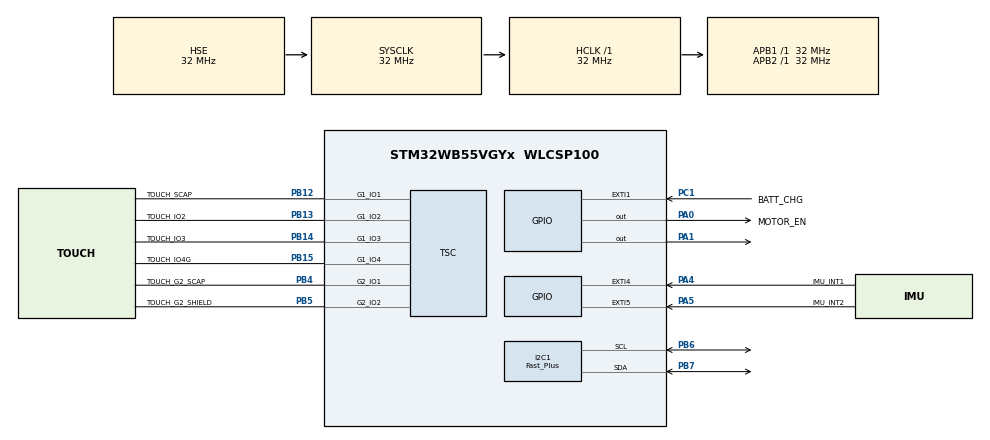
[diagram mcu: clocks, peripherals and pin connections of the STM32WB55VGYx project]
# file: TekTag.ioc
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I2C1.I2C_Speed_Mode=I2C_Fast_Plus
I2C1.Timing=0x00100413
Mcu.Family=STM32WB
Mcu.Name=STM32WB55VGYx
Mcu.Package=WLCSP100
NVIC.HSEM_IRQn=true\:0\:0\:false\:false\:true\:false\:true\:true
NVIC.IPCC_C1_RX_IRQn=true\:0\:0\:false\:false\:true\:true\:true\:true
NVIC.IPCC_C1_TX_IRQn=true\:0\:0\:false\:false\:true\:true\:true\:true
NVIC.PriorityGroup=NVIC_PRIORITYGROUP_4
NVIC.RTC_WKUP_IRQn=true\:0\:0\:false\:false\:true\:true\:true\:true
OSC_IN.Mode=HSE-External-Oscillator
OSC_IN.Signal=RCC_OSC_IN
OSC_OUT.Mode=HSE-External-Oscillator
OSC_OUT.Signal=RCC_OSC_OUT
PA0.GPIO_Label=MOTOR_EN
PA0.Signal=GPIO_Output
PA1.Signal=GPIO_Output
PA13.Mode=Trace_Synchro_4bits_SW
PA13.Signal=SYS_JTMS-SWDIO
PA14.Mode=Trace_Synchro_4bits_SW
PA14.Signal=SYS_JTCK-SWCLK
PA4.GPIO_Label=IMU_INT1
PA4.Signal=GPXTI4
PA5.GPIO_Label=IMU_INT2
PA5.Signal=GPXTI5
PB12.GPIO_Label=TOUCH_SCAP
PB12.Mode=G1_IO1-Sampling
PB12.Signal=TSC_G1_IO1
PB13.GPIO_Label=TOUCH_IO2
PB13.Mode=G1_IO2-Channel
PB13.Signal=TSC_G1_IO2
PB14.GPIO_Label=TOUCH_IO3
PB14.Mode=G1_IO3-Channel
PB14.Signal=TSC_G1_IO3
PB15.GPIO_Label=TOUCH_IO4G
PB15.Mode=G1_IO4-Channel
PB15.Signal=TSC_G1_IO4
PB4.GPIO_Label=TOUCH_G2_SCAP
PB4.Mode=G2_IO1-Sampling
PB4.Signal=TSC_G2_IO1
PB5.GPIO_Label=TOUCH_G2_SHIELD
PB5.Mode=G2_IO2-Shield
PB5.Signal=TSC_G2_IO2
PB6.GPIO_Speed=GPIO_SPEED_FREQ_VERY_HIGH
PB6.Mode=I2C
PB6.Signal=I2C1_SCL
PB7.GPIO_Speed=GPIO_SPEED_FREQ_VERY_HIGH
PB7.Mode=I2C
PB7.Signal=I2C1_SDA
PC1.GPIO_Label=BATT_CHG
PC1.GPIO_ModeDefaultEXTI=GPIO_MODE_IT_FALLING
PC1.Signal=GPXTI1
PC10.Mode=Trace_Synchro_4bits_SW
PC10.Signal=SYS_TRACED1
PC12.Mode=Trace_Synchro_4bits_SW
PC12.Signal=SYS_TRACED3
PC14-OSC32_IN.Mode=LSE-External-Oscillator
PC14-OSC32_IN.Signal=RCC_OSC32_IN
PC15-OSC32_OUT.Mode=LSE-External-Oscillator
PC15-OSC32_OUT.Signal=RCC_OSC32_OUT
PD2.Mode=Trace_Synchro_4bits_SW
PD2.Signal=SYS_TRACED2
PD9.Mode=Trace_Synchro_4bits_SW
PD9.Signal=SYS_TRACED0
PE2.Mode=Trace_Synchro_4bits_SW
PE2.Signal=SYS_TRACECLK
ProjectManager.HeapSize=0x7FFF
ProjectManager.StackSize=0x1FFF
ProjectManager.TargetToolchain=STM32CubeIDE
RCC.ADCFreq_Value=64000000
RCC.AHB3CLKDivider=RCC_SYSCLK_DIV2
RCC.AHBFreq_Value=32000000
RCC.APB1Freq_Value=32000000
RCC.APB1TimFreq_Value=32000000
RCC.APB2Freq_Value=32000000
RCC.APB2TimFreq_Value=32000000
RCC.APB3Freq_Value=16000000
RCC.CortexFreq_Value=32000000
RCC.HCLKFreq_Value=32000000
RCC.HSE_VALUE=32000000
RCC.HSI48_VALUE=48000000
RCC.HSI_VALUE=16000000
RCC.PLLSourceVirtual=RCC_PLLSOURCE_HSI
RCC.RFWKPClockSelection=RCC_RFWKPCLKSOURCE_LSE
RCC.RTCClockSelection=RCC_RTCCLKSOURCE_LSE
RCC.SYSCLKFreq_VALUE=32000000
RCC.SYSCLKSource=RCC_SYSCLKSOURCE_HSE
RCC.USBFreq_Value=64000000
RCC.VCOOutputFreq_Value=128000000
RF1.Mode=RF1_Activate
RF1.Signal=RF_RF1
STM32_WPAN.BT_SIG_BEACON=CFG_IBEACON
STM32_WPAN.LOCAL_NAME=BEACON
STM32_WPAN.LOCAL_NAME_FORMATTED=,'B','E','A','C','O','N'
TSC.ChannelIOs-G1_IO2=TSC_GROUP1_IO2
TSC.ChannelIOs-G1_IO3=TSC_GROUP1_IO3
TSC.ChannelIOs-G1_IO4=TSC_GROUP1_IO4
TSC.SamplingIOs-G1_IO1=TSC_GROUP1_IO1
TSC.SamplingIOs-G2_IO1=TSC_GROUP2_IO1
TSC.ShieldIOs-G2_IO2=TSC_GROUP2_IO2
VP_HSEM_VS_HSEM.Mode=HSEM_Activate
VP_IPCC_VS_IPCC.Mode=IPCC_Activate
VP_RTC_VS_RTC_Activate.Mode=RTC_Enabled
VP_RTC_VS_RTC_WakeUp_intern.Mode=WakeUp
VP_SEQUENCER_VS_SEQUENCER.Mode=SEQUENCER_Enabled
VP_STM32_WPAN_VS_BLE_HOST.Mode=STM32_WPAN_Enabled
VP_TINY_LPM_VS_TINY_LPM.Mode=TINY_LPM_Enabled
board=custom

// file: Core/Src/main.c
/* USER CODE BEGIN Header */
/**
  ******************************************************************************
  * @file           : main.c
  * @brief          : Main program body
  ******************************************************************************
  * @attention
  *
  * Copyright (c) 2023 STMicroelectronics.
  * All rights reserved.
  *
  * This software is licensed under terms that can be found in the LICENSE file
  * in the root directory of this software component.
  * If no LICENSE file comes with this software, it is provided AS-IS.
  *
  ******************************************************************************
  */
/* USER CODE END Header */
#include "main.h"
#include "i2c.h"
#include "ipcc.h"
#include "rf.h"
#include "rtc.h"
#include "tsc.h"
#include "gpio.h"

/* USER CODE BEGIN Includes */

#include "app.h"

/* USER CODE END Includes */

void SystemClock_Config(void);
void PeriphCommonClock_Config(void);

/* USER CODE BEGIN 0 */
void start_trace(void) {
    // 1. Initialization
    GPIO_InitTypeDef GPIO_InitStruct = {0};
//    uint32_t prescaler_value = 1;

    // 2. Initialize variables
    __HAL_RCC_GPIOC_CLK_ENABLE();
    __HAL_RCC_GPIOD_CLK_ENABLE();
    __HAL_RCC_GPIOE_CLK_ENABLE();

    // 3. Set the default trace port width
//    TPI->CSPSR = 4;

    // 4. Initialize the speed for the Trace Clock and Trace Data signals
    GPIO_InitStruct.Mode = GPIO_MODE_AF_PP;
    GPIO_InitStruct.Pull = GPIO_NOPULL;
    GPIO_InitStruct.Speed = GPIO_SPEED_FREQ_VERY_HIGH;

    // 5. Begin the process of configuring the GPIO pins for trace functionality
    // TRACECLK
    GPIO_InitStruct.Pin = GPIO_PIN_2;
    GPIO_InitStruct.Alternate = GPIO_AF0_TRACECK;
    HAL_GPIO_Init(GPIOE, &GPIO_InitStruct);

    // 6. Repeat these configuration steps for each trace data pin
    // TRACED0
    GPIO_InitStruct.Pin = GPIO_PIN_9;
    GPIO_InitStruct.Alternate = GPIO_AF0_TRACED0;
    HAL_GPIO_Init(GPIOD, &GPIO_InitStruct);

    // TRACED1
    GPIO_InitStruct.Pin = GPIO_PIN_10;
    GPIO_InitStruct.Alternate = GPIO_AF0_TRACED1;
    HAL_GPIO_Init(GPIOC, &GPIO_InitStruct);

    // TRACED2
    GPIO_InitStruct.Pin = GPIO_PIN_2;
    GPIO_InitStruct.Alternate = GPIO_AF0_TRACED2;
    HAL_GPIO_Init(GPIOD, &GPIO_InitStruct);

    // TRACED3
    GPIO_InitStruct.Pin = GPIO_PIN_12;
    GPIO_InitStruct.Alternate = GPIO_AF0_TRACED3;
    HAL_GPIO_Init(GPIOC, &GPIO_InitStruct);

//    // 7. Enable trace functionality
//    // Set the PRESCALER in the Asynchronous Clock Prescaler Register (ACPR)
//    TPI->ACPR = (TPI->ACPR & ~TPI_ACPR_PRESCALER_Msk) | ((prescaler_value << TPI_ACPR_PRESCALER_Pos) & TPI_ACPR_PRESCALER_Msk);
//
//    // Set the TXMODE in the Selected Pin Protocol Register (SPPR) to use NRZ (Non-return to zero)
//    TPI->SPPR = (TPI->SPPR & ~TPI_SPPR_TXMODE_Msk) | ((0x0 << TPI_SPPR_TXMODE_Pos) & TPI_SPPR_TXMODE_Msk);
//
//    // Enable continuous formatting and comparison in the Formatter and Flush Control Register (FFCR)
//    TPI->FFCR |= TPI_FFCR_EnFCont_Msk;

    // 8. Conclude the function
    // Additional trace-specific register settings for ITM, DWT, and ETM might go here, if needed.
    LL_DBGMCU_EnableTraceClock();
}

/* USER CODE END 0 */

int main(void)
{
  /* USER CODE BEGIN 1 */
	  start_trace();
  /* USER CODE END 1 */

  /* MCU Configuration--------------------------------------------------------*/

  /* Reset of all peripherals, Initializes the Flash interface and the Systick. */
  HAL_Init();
  /* Config code for STM32_WPAN (HSE Tuning must be done before system clock configuration) */
  MX_APPE_Config();

  /* Configure the system clock */
  SystemClock_Config();

/* Configure the peripherals common clocks */
  PeriphCommonClock_Config();

  /* IPCC initialisation */
  MX_IPCC_Init();

  /* Initialize all configured peripherals */
  MX_GPIO_Init();
  MX_I2C1_Init();
  MX_TSC_Init();
  MX_RTC_Init();
  MX_RF_Init();

  /* Init code for STM32_WPAN */
  MX_APPE_Init();

  /* Infinite loop */
  /* USER CODE BEGIN WHILE */

  setup();

  while (1)
  {
	loop();
    /* USER CODE END WHILE */
    MX_APPE_Process();

  }
}

void SystemClock_Config(void)
{
  RCC_OscInitTypeDef RCC_OscInitStruct = {0};
  RCC_ClkInitTypeDef RCC_ClkInitStruct = {0};

  /** Configure LSE Drive Capability
  */
  HAL_PWR_EnableBkUpAccess();
  __HAL_RCC_LSEDRIVE_CONFIG(RCC_LSEDRIVE_MEDIUMHIGH);

  /** Configure the main internal regulator output voltage
  */
  __HAL_PWR_VOLTAGESCALING_CONFIG(PWR_REGULATOR_VOLTAGE_SCALE1);

  /** Initializes the RCC Oscillators according to the specified parameters
  * in the RCC_OscInitTypeDef structure.
  */
  RCC_OscInitStruct.OscillatorType = RCC_OSCILLATORTYPE_HSI|RCC_OSCILLATORTYPE_HSE
                              |RCC_OSCILLATORTYPE_LSE;
  RCC_OscInitStruct.HSEState = RCC_HSE_ON;
  RCC_OscInitStruct.LSEState = RCC_LSE_ON;
  RCC_OscInitStruct.HSIState = RCC_HSI_ON;
  RCC_OscInitStruct.HSICalibrationValue = RCC_HSICALIBRATION_DEFAULT;
  RCC_OscInitStruct.PLL.PLLState = RCC_PLL_NONE;
  if (HAL_RCC_OscConfig(&RCC_OscInitStruct) != HAL_OK)
  {
    Error_Handler();
  }

  /** Configure the SYSCLKSource, HCLK, PCLK1 and PCLK2 clocks dividers
  */
  RCC_ClkInitStruct.ClockType = RCC_CLOCKTYPE_HCLK4|RCC_CLOCKTYPE_HCLK2
                              |RCC_CLOCKTYPE_HCLK|RCC_CLOCKTYPE_SYSCLK
                              |RCC_CLOCKTYPE_PCLK1|RCC_CLOCKTYPE_PCLK2;
  RCC_ClkInitStruct.SYSCLKSource = RCC_SYSCLKSOURCE_HSE;
  RCC_ClkInitStruct.AHBCLKDivider = RCC_SYSCLK_DIV1;
  RCC_ClkInitStruct.APB1CLKDivider = RCC_HCLK_DIV1;
  RCC_ClkInitStruct.APB2CLKDivider = RCC_HCLK_DIV1;
  RCC_ClkInitStruct.AHBCLK2Divider = RCC_SYSCLK_DIV1;
  RCC_ClkInitStruct.AHBCLK4Divider = RCC_SYSCLK_DIV2;

  if (HAL_RCC_ClockConfig(&RCC_ClkInitStruct, FLASH_LATENCY_0) != HAL_OK)
  {
    Error_Handler();
  }
}

void PeriphCommonClock_Config(void)
{
  RCC_PeriphCLKInitTypeDef PeriphClkInitStruct = {0};

  /** Initializes the peripherals clock
  */
  PeriphClkInitStruct.PeriphClockSelection = RCC_PERIPHCLK_SMPS|RCC_PERIPHCLK_RFWAKEUP;
  PeriphClkInitStruct.RFWakeUpClockSelection = RCC_RFWKPCLKSOURCE_LSE;
  PeriphClkInitStruct.SmpsClockSelection = RCC_SMPSCLKSOURCE_HSI;
  PeriphClkInitStruct.SmpsDivSelection = RCC_SMPSCLKDIV_RANGE1;

  if (HAL_RCCEx_PeriphCLKConfig(&PeriphClkInitStruct) != HAL_OK)
  {
    Error_Handler();
  }
}

void Error_Handler(void)
{
  __disable_irq();
  while (1)
  {
  }
}
